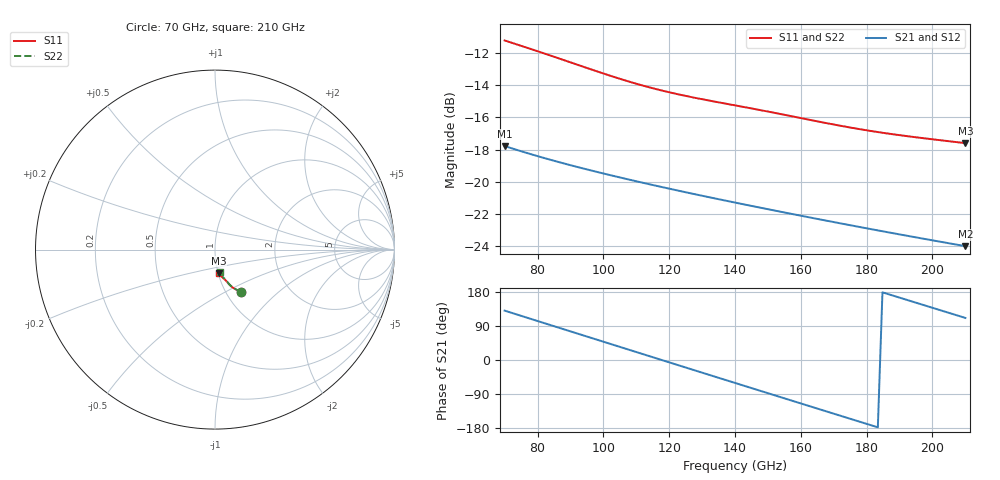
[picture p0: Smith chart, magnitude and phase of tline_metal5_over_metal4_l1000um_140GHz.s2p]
#  GHZ S DB R 50
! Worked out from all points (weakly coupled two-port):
!   101 points, 70 GHz to 210 GHz, reference 50 ohm
!   highest |S21| = -17.78 dB at 70 GHz (marker M1); lowest = -24.0 dB at 210 GHz (marker M2)
!   lowest |S11| = -17.6 dB at 210 GHz (marker M3), VSWR 1.30, Z = 50.4 - j13.3 ohm
!   |S11| at or under -10 dB: start of sweep to end of sweep
!   |S22| runs from -17.8 to -11.2 dB; largest |S21 - S12| = 8.4e-14
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70  -11.23 -58.7  -17.78 130.3  -17.78 130.3  -11.23 -58.5
75.6  -11.60 -60.5  -18.14 115.0  -18.14 115.0  -11.60 -60.2
81.2  -11.98 -62.2  -18.48 99.6  -18.48 99.6  -11.98 -62.0
86.8  -12.36 -63.9  -18.80 84.3  -18.80 84.3  -12.38 -63.6
93.8  -12.85 -65.7  -19.17 65.2  -19.17 65.2  -12.87 -65.5
100.8  -13.33 -67.2  -19.53 46.1  -19.53 46.1  -13.37 -66.9
106.4  -13.69 -68.1  -19.80 30.9  -19.80 30.9  -13.74 -67.9
112  -14.03 -68.9  -20.06 15.6  -20.06 15.6  -14.09 -68.6
117.6  -14.33 -69.5  -20.32 0.4  -20.32 0.4  -14.40 -69.2
127.4  -14.77 -70.7  -20.76 -26.3  -20.76 -26.3  -14.87 -70.2
134.4  -15.05 -71.6  -21.06 -45.3  -21.06 -45.3  -15.16 -71.0
140  -15.26 -72.5  -21.29 -60.5  -21.29 -60.5  -15.38 -71.8
145.6  -15.47 -73.4  -21.52 -75.7  -21.52 -75.7  -15.60 -72.6
151.2  -15.69 -74.3  -21.75 -90.8  -21.75 -90.8  -15.83 -73.4
156.8  -15.92 -75.2  -21.98 -106.0  -21.98 -106.0  -16.06 -74.1
163.8  -16.20 -76.2  -22.26 -124.9  -22.26 -124.9  -16.35 -74.9
170.8  -16.48 -77.0  -22.53 -143.8  -22.53 -143.8  -16.62 -75.6
176.4  -16.68 -77.5  -22.75 -158.9  -22.75 -158.9  -16.83 -76.0
182  -16.87 -78.0  -22.97 -173.9  -22.97 -173.9  -17.01 -76.4
187.6  -17.04 -78.5  -23.18 171.0  -23.18 171.0  -17.18 -76.7
200.2  -17.37 -79.6  -23.64 137.2  -23.64 137.2  -17.52 -77.7
210  -17.60 -80.6  -24.00 111.0  -24.00 111.0  -17.77 -78.6
